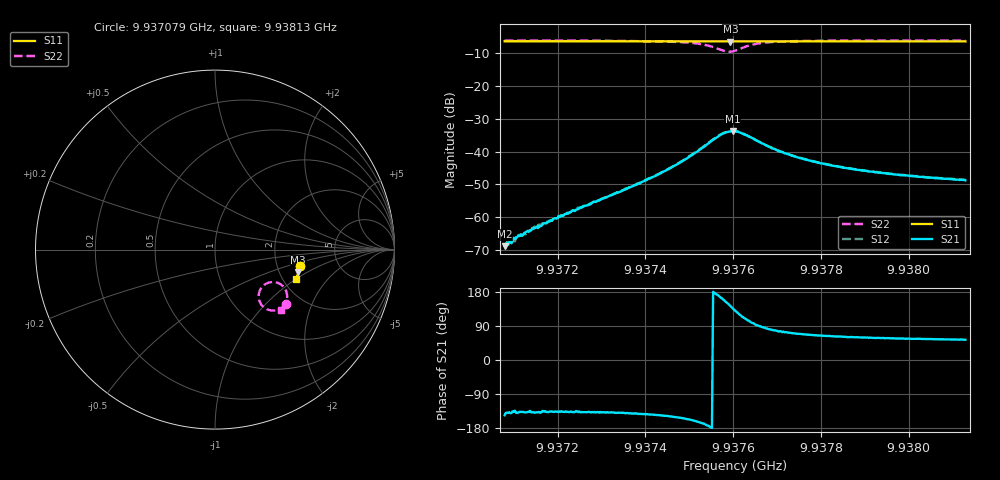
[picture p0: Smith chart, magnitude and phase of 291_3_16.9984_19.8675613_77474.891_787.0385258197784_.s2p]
#  HZ  S  RI  R  50.00
! Rohde & Schwarz Vector Network Analyzer
! Rohde-Schwarz,ZNB20-2Port,1311601062101988,3.16
! Created: UTC 3/20/2024, 11:05:07 PM
! freq[Hz]  re:S11  im:S11  re:S21  im:S21  re:S12  im:S12  re:S22  im:S22
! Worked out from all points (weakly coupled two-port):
!   401 points, 9.937079 GHz to 9.93813 GHz, reference 50 ohm
!   highest |S21| = -33.75 dB at 9.937599 GHz (marker M1); lowest = -68.9 dB at 9.937079 GHz (marker M2)
!   lowest |S11| = -6.4 dB at 9.937594 GHz (marker M3), VSWR 2.84, Z = 127 - j41.4 ohm
!   |S11| at or under -10 dB: nowhere
!   |S22| runs from -9.5 to -6.1 dB; largest |S21 - S12| = 0.00091
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9.9370793e9  0.4754 -0.0928  -0.000296 -0.000202  -0.000309 -0.000242  0.3945 -0.3044
9.9370925e9  0.4751 -0.0937  -0.000321 -0.000266  -0.000322 -0.000253  0.3936 -0.3052
9.9371056e9  0.4748 -0.0945  -0.000365 -0.00031  -0.00038 -0.000313  0.3926 -0.3063
9.9371292e9  0.4744 -0.0962  -0.000443 -0.0004  -0.000424 -0.000365  0.3908 -0.3081
9.9371607e9  0.474 -0.0984  -0.000547 -0.000472  -0.000555 -0.000514  0.3883 -0.3105
9.9371975e9  0.4731 -0.1009  -0.000683 -0.000653  -0.000703 -0.000661  0.3851 -0.3131
9.9372552e9  0.4722 -0.1047  -0.00104 -0.000953  -0.00103 -0.000942  0.3795 -0.3181
9.9373708e9  0.4698 -0.1126  -0.00231 -0.00185  -0.00237 -0.00183  0.3629 -0.3291
9.9374312e9  0.4683 -0.1167  -0.00374 -0.00256  -0.00381 -0.00252  0.3474 -0.3358
9.9374889e9  0.4668 -0.1206  -0.00669 -0.00318  -0.00688 -0.00318  0.32 -0.3394
9.9375362e9  0.4651 -0.1237  -0.0119 -0.00217  -0.0123 -0.00192  0.2767 -0.3247
9.9375756e9  0.4634 -0.1256  -0.0177 0.00577  -0.0177 0.00658  0.2432 -0.254
9.937594e9  0.463 -0.1258  -0.0161 0.0124  -0.0159 0.0132  0.2655 -0.2045
9.9375992e9  0.4632 -0.1261  -0.0149 0.0141  -0.0145 0.0147  0.2779 -0.1938
9.9376045e9  0.4632 -0.1262  -0.0132 0.0154  -0.0129 0.016  0.2922 -0.1865
9.9376334e9  0.4635 -0.1278  -0.00445 0.0168  -0.00398 0.017  0.363 -0.1916
9.9376596e9  0.4635 -0.1296  0.00019 0.014  0.00042 0.0142  0.392 -0.2215
9.9377069e9  0.4628 -0.1331  0.00246 0.00966  0.00284 0.00974  0.4024 -0.2609
9.9377804e9  0.4611 -0.1383  0.00291 0.00649  0.00303 0.0065  0.3969 -0.2908
9.9378565e9  0.4595 -0.1434  0.00272 0.00492  0.00283 0.00495  0.3897 -0.3064
9.9379563e9  0.457 -0.1499  0.00244 0.00385  0.00256 0.00383  0.3809 -0.3191
9.9381296e9  0.4525 -0.1612  0.00216 0.00292  0.00227 0.00292  0.3685 -0.3338
